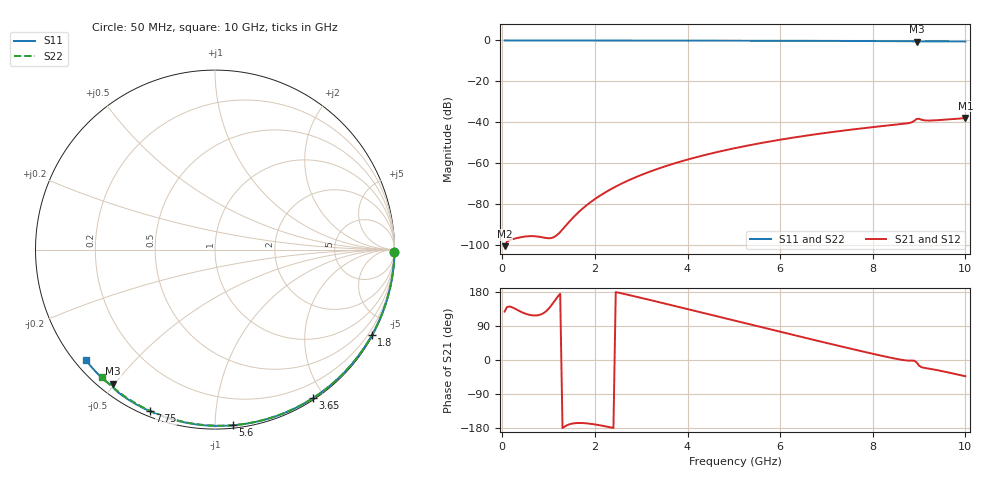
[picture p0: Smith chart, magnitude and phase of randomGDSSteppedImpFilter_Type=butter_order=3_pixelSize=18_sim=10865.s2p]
! freq	dB(S11)	phase(S11)	dB(S12)	phase(S12)
!  dB(S21)	phase(S21)	dB(S22)	phase(S22)
!S-par simulation data
#  GHz  S  DB  R 50
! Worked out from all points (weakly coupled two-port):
!   200 points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, 50 MHz to 10 GHz, reference 50 ohm
!   highest |S21| = -38.00 dB at 10 GHz (marker M1); lowest = -100.7 dB at 50 MHz (marker M2)
!   lowest |S11| = -0.6 dB at 8.95 GHz (marker M3), VSWR 31.52, Z = 1.98 - j24.8 ohm
!   |S11| at or under -10 dB: nowhere
!   |S22| runs from -0.4 to 0.0 dB; largest |S21 - S12| = 0
!   S11 on the Smith chart (normalised r, x): 50 MHz: open; 1.8 GHz: 0.03, -3.92; 3.65 GHz: 0.02, -1.85; 5.6 GHz: 0.02, -1.11; 7.75 GHz: 0.02, -0.67; 10 GHz: 0.03, -0.37
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0.05  -0.00 -0.8  -100.67 127.7  -100.67 127.7  -0.00 -0.8
0.9  -0.02 -14.5  -96.49 124.4  -96.49 124.4  -0.01 -13.6
1.75  -0.04 -27.9  -81.95 -166.5  -81.95 -166.5  -0.03 -26.2
1.8  -0.04 -28.6  -81.01 -166.9  -81.01 -166.9  -0.03 -27.0
1.85  -0.04 -29.4  -80.11 -167.6  -80.11 -167.6  -0.04 -27.7
2.15  -0.04 -34.1  -75.36 -173.2  -75.36 -173.2  -0.04 -32.1
2.55  -0.05 -40.2  -70.34 176.6  -70.34 176.6  -0.05 -37.9
2.95  -0.06 -46.3  -66.27 165.3  -66.27 165.3  -0.06 -43.6
3.4  -0.07 -53.0  -62.47 152.2  -62.47 152.2  -0.07 -49.9
3.65  -0.08 -56.7  -60.63 144.8  -60.63 144.8  -0.07 -53.4
4.3  -0.09 -66.1  -56.48 125.4  -56.48 125.4  -0.09 -62.3
5.05  -0.12 -76.6  -52.57 102.9  -52.57 102.9  -0.11 -72.3
5.6  -0.14 -84.1  -50.15 86.4  -50.15 86.4  -0.13 -79.4
6.7  -0.19 -98.6  -46.13 53.8  -46.13 53.8  -0.18 -93.1
7.75  -0.26 -112.0  -43.05 23.4  -43.05 23.4  -0.24 -105.7
8.35  -0.31 -119.6  -41.56 6.9  -41.56 6.9  -0.29 -112.7
8.8  -0.37 -125.5  -40.32 -1.7  -40.32 -1.7  -0.33 -117.9
8.85  -0.40 -126.2  -39.96 -1.6  -39.96 -1.6  -0.33 -118.5
8.95  -0.55 -127.2  -38.37 -6.8  -38.37 -6.8  -0.34 -119.6
9.1  -0.44 -128.1  -39.03 -20.4  -39.03 -20.4  -0.35 -121.4
9.25  -0.41 -130.1  -39.18 -23.5  -39.18 -23.5  -0.37 -123.1
10  -0.48 -139.5  -38.00 -42.9  -38.00 -42.9  -0.44 -131.5
